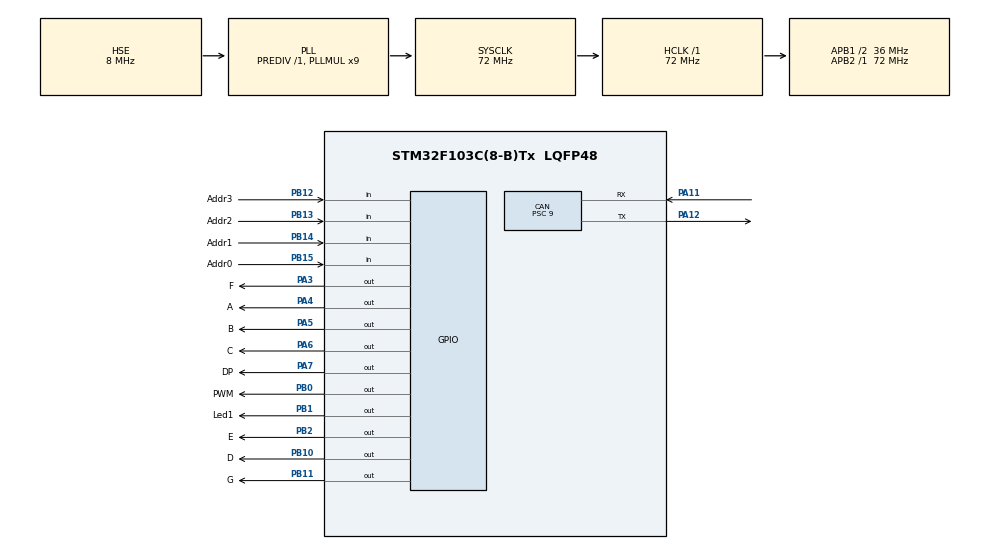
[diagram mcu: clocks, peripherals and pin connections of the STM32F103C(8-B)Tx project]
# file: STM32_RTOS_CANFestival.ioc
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CAN.BS1=CAN_BS1_4TQ
CAN.BS2=CAN_BS2_3TQ
CAN.CalculateTimeBit=2000
CAN.CalculateTimeQuantum=250.0
CAN.Prescaler=9
CAN.SJW=CAN_SJW_1TQ
FREERTOS.INCLUDE_pcTaskGetTaskName=1
FREERTOS.INCLUDE_uxTaskGetStackHighWaterMark=1
FREERTOS.INCLUDE_xTaskGetCurrentTaskHandle=1
FREERTOS.Tasks01=defaultTask,-2,256,StartDefaultTask,Default,NULL,Dynamic,NULL,NULL;CAN_Task,0,128,CAN_Start_Task,As external,NULL,Dynamic,NULL,NULL
FREERTOS.configGENERATE_RUN_TIME_STATS=1
FREERTOS.configTOTAL_HEAP_SIZE=5000
FREERTOS.configUSE_STATS_FORMATTING_FUNCTIONS=1
FREERTOS.configUSE_TRACE_FACILITY=1
Mcu.Family=STM32F1
Mcu.Name=STM32F103C(8-B)Tx
Mcu.Package=LQFP48
NVIC.CAN1_RX1_IRQn=true\:5\:0\:false\:false\:true\:true\:true\:true
NVIC.PriorityGroup=NVIC_PRIORITYGROUP_4
NVIC.TIM2_IRQn=true\:5\:0\:false\:false\:true\:true\:true\:true
NVIC.TIM4_IRQn=true\:0\:0\:false\:false\:true\:false\:false\:true
NVIC.TimeBase=TIM4_IRQn
NVIC.TimeBaseIP=TIM4
NVIC.USB_LP_CAN1_RX0_IRQn=true\:5\:0\:false\:false\:true\:true\:true\:true
PA11.GPIO_PuPd=GPIO_PULLDOWN
PA11.Mode=Master
PA11.Signal=CAN_RX
PA12.Mode=Master
PA12.Signal=CAN_TX
PA13.Mode=Trace_Asynchronous_SW
PA13.Signal=SYS_JTMS-SWDIO
PA14.Mode=Trace_Asynchronous_SW
PA14.Signal=SYS_JTCK-SWCLK
PA3.GPIO_Label=F
PA3.PinState=GPIO_PIN_SET
PA3.Signal=GPIO_Output
PA4.GPIO_Label=A
PA4.PinState=GPIO_PIN_SET
PA4.Signal=GPIO_Output
PA5.GPIO_Label=B
PA5.PinState=GPIO_PIN_SET
PA5.Signal=GPIO_Output
PA6.GPIO_Label=C
PA6.PinState=GPIO_PIN_SET
PA6.Signal=GPIO_Output
PA7.GPIO_Label=DP
PA7.PinState=GPIO_PIN_SET
PA7.Signal=GPIO_Output
PB0.GPIO_Label=PWM
PB0.Signal=GPIO_Output
PB1.GPIO_Label=Led1
PB1.Signal=GPIO_Output
PB10.GPIO_Label=D
PB10.PinState=GPIO_PIN_SET
PB10.Signal=GPIO_Output
PB11.GPIO_Label=G
PB11.PinState=GPIO_PIN_SET
PB11.Signal=GPIO_Output
PB12.GPIO_Label=Addr3
PB12.GPIO_PuPd=GPIO_PULLDOWN
PB12.Signal=GPIO_Input
PB13.GPIO_Label=Addr2
PB13.GPIO_PuPd=GPIO_PULLDOWN
PB13.Signal=GPIO_Input
PB14.GPIO_Label=Addr1
PB14.GPIO_PuPd=GPIO_PULLDOWN
PB14.Signal=GPIO_Input
PB15.GPIO_Label=Addr0
PB15.GPIO_PuPd=GPIO_PULLDOWN
PB15.Signal=GPIO_Input
PB2.GPIO_Label=E
PB2.PinState=GPIO_PIN_SET
PB2.Signal=GPIO_Output
PB3.Mode=Trace_Asynchronous_SW
PB3.Signal=SYS_JTDO-TRACESWO
PD0-OSC_IN.Mode=HSE-External-Oscillator
PD0-OSC_IN.Signal=RCC_OSC_IN
PD1-OSC_OUT.Mode=HSE-External-Oscillator
PD1-OSC_OUT.Signal=RCC_OSC_OUT
ProjectManager.HeapSize=0x200
ProjectManager.StackSize=0x400
ProjectManager.TargetToolchain=Makefile
RCC.ADCPresc=RCC_ADCPCLK2_DIV6
RCC.AHBFreq_Value=72000000
RCC.APB1CLKDivider=RCC_HCLK_DIV2
RCC.APB1Freq_Value=36000000
RCC.APB1TimFreq_Value=72000000
RCC.APB2Freq_Value=72000000
RCC.APB2TimFreq_Value=72000000
RCC.HCLKFreq_Value=72000000
RCC.PLLMUL=RCC_PLL_MUL9
RCC.PLLSourceVirtual=RCC_PLLSOURCE_HSE
RCC.SYSCLKFreq_VALUE=72000000
RCC.SYSCLKSource=RCC_SYSCLKSOURCE_PLLCLK
RCC.USBFreq_Value=72000000
TIM2.Period=0xFFFF
TIM2.Prescaler=7100-1
TIM3.Period=2048-1
VP_FREERTOS_VS_CMSIS_V1.Mode=CMSIS_V1
VP_SYS_VS_tim4.Mode=TIM4
VP_TIM2_VS_ClockSourceINT.Mode=Internal
VP_TIM3_VS_ClockSourceINT.Mode=Internal
board=custom

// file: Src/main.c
/* USER CODE BEGIN Header */
/**
  ******************************************************************************
  * @file           : main.c
  * @brief          : Main program body
  ******************************************************************************
  * @attention
  *
  * <h2><center>&copy; Copyright (c) 2020 STMicroelectronics.
  * All rights reserved.</center></h2>
  *
  * This software component is licensed by ST under BSD 3-Clause license,
  * the "License"; You may not use this file except in compliance with the
  * License. You may obtain a copy of the License at:
  *                        opensource.org/licenses/BSD-3-Clause
  *
  ******************************************************************************
  */
/* USER CODE END Header */

#include "main.h"
#include "cmsis_os.h"
#include "can.h"
#include "tim.h"
#include "gpio.h"

void SystemClock_Config(void);
void MX_FREERTOS_Init(void);

int main(void)
{

  /* MCU Configuration--------------------------------------------------------*/

  /* Reset of all peripherals, Initializes the Flash interface and the Systick. */
  HAL_Init();

  /* Configure the system clock */
  SystemClock_Config();

  /* Initialize all configured peripherals */
  MX_GPIO_Init();
  MX_TIM3_Init();
  MX_CAN_Init();
  MX_TIM2_Init();
  /* USER CODE BEGIN 2 */
  debug_printf("booting....\n");
  // debug_printf("booting.");
  uint8_t dw = 0;
  while (dw < 18) {
    Debug_view_int(dw);
    HAL_Delay(100);
    HAL_GPIO_TogglePin(PWM_GPIO_Port, PWM_Pin);   // LED на PWM (PB0)
    HAL_GPIO_TogglePin(Led1_GPIO_Port, Led1_Pin); // LED на плате (PB1)
    dw++;
  }

  //  dw = 255;

  printf("test printf in %s\n", __FUNCTION__);
  /* USER CODE END 2 */

  /* Call init function for freertos objects (in freertos.c) */
  MX_FREERTOS_Init();
  /* Start scheduler */
  osKernelStart();

  /* We should never get here as control is now taken by the scheduler */
  /* Infinite loop */
  /* USER CODE BEGIN WHILE */
  while (1) {

;

    /* USER CODE END WHILE */

  }
}

void SystemClock_Config(void)
{
  RCC_OscInitTypeDef RCC_OscInitStruct = {0};
  RCC_ClkInitTypeDef RCC_ClkInitStruct = {0};

  /** Initializes the CPU, AHB and APB busses clocks
  */
  RCC_OscInitStruct.OscillatorType = RCC_OSCILLATORTYPE_HSE;
  RCC_OscInitStruct.HSEState = RCC_HSE_ON;
  RCC_OscInitStruct.HSEPredivValue = RCC_HSE_PREDIV_DIV1;
  RCC_OscInitStruct.HSIState = RCC_HSI_ON;
  RCC_OscInitStruct.PLL.PLLState = RCC_PLL_ON;
  RCC_OscInitStruct.PLL.PLLSource = RCC_PLLSOURCE_HSE;
  RCC_OscInitStruct.PLL.PLLMUL = RCC_PLL_MUL9;
  if (HAL_RCC_OscConfig(&RCC_OscInitStruct) != HAL_OK)
  {
    Error_Handler();
  }
  /** Initializes the CPU, AHB and APB busses clocks
  */
  RCC_ClkInitStruct.ClockType = RCC_CLOCKTYPE_HCLK|RCC_CLOCKTYPE_SYSCLK
                              |RCC_CLOCKTYPE_PCLK1|RCC_CLOCKTYPE_PCLK2;
  RCC_ClkInitStruct.SYSCLKSource = RCC_SYSCLKSOURCE_PLLCLK;
  RCC_ClkInitStruct.AHBCLKDivider = RCC_SYSCLK_DIV1;
  RCC_ClkInitStruct.APB1CLKDivider = RCC_HCLK_DIV2;
  RCC_ClkInitStruct.APB2CLKDivider = RCC_HCLK_DIV1;

  if (HAL_RCC_ClockConfig(&RCC_ClkInitStruct, FLASH_LATENCY_2) != HAL_OK)
  {
    Error_Handler();
  }
}

 /**
  * @brief  Period elapsed callback in non blocking mode
  * @note   This function is called  when TIM4 interrupt took place, inside
  * HAL_TIM_IRQHandler(). It makes a direct call to HAL_IncTick() to increment
  * a global variable "uwTick" used as application time base.
  * @param  htim : TIM handle
  * @retval None
  */
void HAL_TIM_PeriodElapsedCallback(TIM_HandleTypeDef *htim)
{
  if (htim->Instance == TIM4) {
    HAL_IncTick();
  }
}

void Error_Handler(void)
{
}

#ifdef  USE_FULL_ASSERT
/**
  * @brief  Reports the name of the source file and the source line number
  *         where the assert_param error has occurred.
  * @param  file: pointer to the source file name
  * @param  line: assert_param error line source number
  * @retval None
  */
void assert_failed(uint8_t *file, uint32_t line)
{
  /* USER CODE BEGIN 6 */
  debug_printf("assert_failed: file %s on line %d\r\n", file, line);
  /* User can add his own implementation to report the file name and line
     number,
     tex: printf("Wrong parameters value: file %s on line %d\r\n", file, line)
     */
  /* USER CODE END 6 */
}
#endif /* USE_FULL_ASSERT */

/************************ (C) COPYRIGHT STMicroelectronics *****END OF FILE****/

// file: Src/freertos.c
/* USER CODE BEGIN Header */
/**
  ******************************************************************************
  * File Name          : freertos.c
  * Description        : Code for freertos applications
  ******************************************************************************
  * @attention
  *
  * <h2><center>&copy; Copyright (c) 2020 STMicroelectronics.
  * All rights reserved.</center></h2>
  *
  * This software component is licensed by ST under Ultimate Liberty license
  * SLA0044, the "License"; You may not use this file except in compliance with
  * the License. You may obtain a copy of the License at:
  *                             www.st.com/SLA0044
  *
  ******************************************************************************
  */
/* USER CODE END Header */

#include "FreeRTOS.h"
#include "task.h"
#include "main.h"
#include "cmsis_os.h"

osThreadId defaultTaskHandle;
osThreadId CAN_TaskHandle;

void StartDefaultTask(void const * argument);
extern void CAN_Start_Task(void const * argument);

void MX_FREERTOS_Init(void); /* (MISRA C 2004 rule 8.1) */

/* GetIdleTaskMemory prototype (linked to static allocation support) */
void vApplicationGetIdleTaskMemory( StaticTask_t **ppxIdleTaskTCBBuffer, StackType_t **ppxIdleTaskStackBuffer, uint32_t *pulIdleTaskStackSize );

/* Hook prototypes */
void configureTimerForRunTimeStats(void);
unsigned long getRunTimeCounterValue(void);

/* USER CODE BEGIN 1 */
/* Functions needed when configGENERATE_RUN_TIME_STATS is on */
__weak void configureTimerForRunTimeStats(void) {}

__weak unsigned long getRunTimeCounterValue(void) { return 0; }
/* USER CODE END 1 */

/* USER CODE BEGIN GET_IDLE_TASK_MEMORY */
static StaticTask_t xIdleTaskTCBBuffer;
static StackType_t xIdleStack[configMINIMAL_STACK_SIZE];

void vApplicationGetIdleTaskMemory(StaticTask_t **ppxIdleTaskTCBBuffer, StackType_t **ppxIdleTaskStackBuffer,
                                   uint32_t *pulIdleTaskStackSize) {
  *ppxIdleTaskTCBBuffer   = &xIdleTaskTCBBuffer;
  *ppxIdleTaskStackBuffer = &xIdleStack[0];
  *pulIdleTaskStackSize   = configMINIMAL_STACK_SIZE;
  /* place for user code */
}
/* USER CODE END GET_IDLE_TASK_MEMORY */

void MX_FREERTOS_Init(void) {

  /* Create the thread(s) */
  /* definition and creation of defaultTask */
  osThreadDef(defaultTask, StartDefaultTask, osPriorityLow, 0, 256);
  defaultTaskHandle = osThreadCreate(osThread(defaultTask), NULL);

  /* definition and creation of CAN_Task */
  osThreadDef(CAN_Task, CAN_Start_Task, osPriorityNormal, 0, 128);
  CAN_TaskHandle = osThreadCreate(osThread(CAN_Task), NULL);

}

void StartDefaultTask(void const * argument)
{
  /* USER CODE BEGIN StartDefaultTask */
  /* Infinite loop */
#ifdef DEBUG_CAN_TASKS
  char ptrTaskList[250];
#endif

  for (;;) {
    HAL_GPIO_TogglePin(Led1_GPIO_Port, Led1_Pin);
    osDelay(60000); // per 1 min.
#ifdef DEBUG_CAN_TASKS
    // vTaskList(ptrTaskList);
    // debug_printf(("**********************************\n"));
    // debug_printf(("Task  State   Prio    Stack    Num\n"));
    // // debug_printf(("**********************************\n"));
    // debug_printf(ptrTaskList);
    debug_printf("FreeHeapSize/MinimumEverFreeHeapSize:%d/%d\n", xPortGetFreeHeapSize(),
                 xPortGetMinimumEverFreeHeapSize());
#endif
  }
  /* USER CODE END StartDefaultTask */
}

/************************ (C) COPYRIGHT STMicroelectronics *****END OF FILE****/
